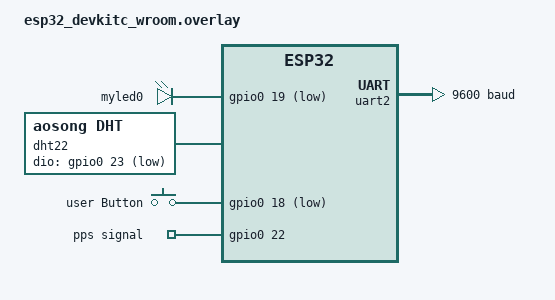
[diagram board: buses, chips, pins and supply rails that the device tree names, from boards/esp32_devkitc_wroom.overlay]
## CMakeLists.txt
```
# SPDX-License-Identifier: Apache-2.0

cmake_minimum_required(VERSION 3.20.0)

find_package(Zephyr REQUIRED HINTS $ENV{ZEPHYR_BASE})
project(uart_gps_gpio)

target_sources(app PRIVATE src/main.c)
```

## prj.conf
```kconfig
CONFIG_SERIAL=y
CONFIG_UART_INTERRUPT_DRIVEN=y
CONFIG_STDOUT_CONSOLE=y
# enable to use thread names
CONFIG_THREAD_NAME=y
CONFIG_SCHED_CPU_MASK=y
CONFIG_SENSOR=y
CONFIG_GPIO=y
# Need float format support
CONFIG_REQUIRES_FULL_LIBC=y
CONFIG_REQUIRES_FLOAT_PRINTF=y
CONFIG_CBPRINTF_FP_SUPPORT=y
```

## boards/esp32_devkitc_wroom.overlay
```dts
/ {
    chosen{
        uart=&uart2;

    };
    aliases {
        led0 = &myled0;
        sw0 = &button0;
        pps = &mypps;
    };

    leds {
        compatible = "gpio-leds";
        myled0: led_0 {
            gpios = <&gpio0 19 GPIO_ACTIVE_LOW>;
        };
    };

    dht22 {
        compatible = "aosong,dht";
        status = "okay";
        dio-gpios = <&gpio0 23 (GPIO_PULL_UP | GPIO_ACTIVE_LOW)>;
    };

    buttons {
        compatible = "gpio-keys";
        button0: button_0 {
            gpios = <&gpio0 18 (GPIO_PULL_UP | GPIO_ACTIVE_LOW)>;
            label = "user Button";
        };
        mypps: mypps_0 {
            gpios = <&gpio0 22 GPIO_ACTIVE_HIGH>;
            label = "pps signal";
        };
    };
};

&uart2 {
    status = "okay";
    current-speed = <9600>;
};
```

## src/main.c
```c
#include <zephyr/kernel.h>
#include <zephyr/device.h>
#include <zephyr/drivers/uart.h>
#include <zephyr/drivers/gpio.h>
#include <zephyr/sys/util.h>
#include <zephyr/sys/printk.h>
#include <zephyr/drivers/sensor.h>
#include <inttypes.h>
#include <string.h>
#include <stdio.h>

/* change this to any other UART peripheral if desired */
#define UART_DEVICE_NODE DT_CHOSEN(uart)

#define SW0_NODE DT_ALIAS(sw0)
#define PPS_NODE DT_ALIAS(pps)

static struct gpio_dt_spec led = GPIO_DT_SPEC_GET_OR(DT_ALIAS(led0), gpios, {0});
static const struct gpio_dt_spec button = GPIO_DT_SPEC_GET_OR(SW0_NODE, gpios, {0});
static const struct gpio_dt_spec pps_dev = GPIO_DT_SPEC_GET_OR(PPS_NODE, gpios, {0});

static struct gpio_callback button_cb_data;
static struct gpio_callback pps_dev_cb_data;
static const struct device *const uart_dev = DEVICE_DT_GET(UART_DEVICE_NODE);
static const struct device *const dht22 = DEVICE_DT_GET_ONE(aosong_dht);

#define MSG_SIZE 256
#define PRIORITY_A 6
#define PRIORITY_B 7
#define PRIORITY_C 8
#define STACKSIZE 1024

/* queue to store up to 10 messages (aligned to 4-byte boundary) */
K_MSGQ_DEFINE(uart_msgq, MSG_SIZE, 10, 4);

/* receive buffer used in UART ISR callback */
static char rx_buf[MSG_SIZE];
static int rx_buf_pos;

#define SLEEP_TIME_MS 100

static int pps_cycle;
static int pps_cnt;
static double utc_time;
static double lat;
static double alt;
static double lon;
static int sat;

void pps_dev_pressed(const struct device *dev, struct gpio_callback *cb, uint32_t pins)
{
	pps_cycle = 0; // k_cycle_get_32();
	pps_cnt++;
}

int hex2int(char *c);
int checksum_valid(char *string);
int parse_comma_delimited_str(char *string, char **fields, int max_fields);

void parse_nwea_gps(char *buffer)
{
	char *field[20];
	if (checksum_valid(buffer))
	{
		if (buffer[0] == '$' && buffer[1] == 'G' && buffer[2] == 'P' &&
			buffer[3] == 'G' && buffer[4] == 'G' && buffer[5] == 'A')
		{
			int ret = parse_comma_delimited_str(buffer, field, 20);
			if (ret > 9)
			{
				utc_time = strtod(field[1], NULL);
				lat = strtod(field[2], NULL);
				lon = strtod(field[4], NULL);
				alt = strtod(field[9], NULL);
				sat = strtol(field[7], NULL, 10);
				if (field[3][0] == 'S')
					lat = -lat;
				if (field[5][0] == 'W')
					lon = -lon;
			}
		}
	}
}

int hexchar2int(char c)
{
	if (c >= '0' && c <= '9')
		return c - '0';
	if (c >= 'A' && c <= 'F')
		return c - 'A' + 10;
	if (c >= 'a' && c <= 'f')
		return c - 'a' + 10;
	return -1;
}

int hex2int(char *c)
{
	int value;

	value = hexchar2int(c[0]);
	value = value << 4;
	value += hexchar2int(c[1]);

	return value;
}

int checksum_valid(char *string)
{
	char *checksum_str;
	int checksum;
	unsigned char calculated_checksum = 0;

	// Checksum is postcede by *
	checksum_str = strchr(string, '*');
	if (checksum_str != NULL)
	{
		// Remove checksum from string
		*checksum_str = '\0';
		// Calculate checksum, starting after $ (i = 1)
		for (int i = 1; i < strlen(string); i++)
		{
			calculated_checksum = calculated_checksum ^ string[i];
		}
		checksum = hex2int((char *)checksum_str + 1);
		// printk("Checksum Str [%s], Checksum %02X, Calculated Checksum %02X\r\n", (char *)checksum_str + 1, checksum, calculated_checksum);
		if (checksum == calculated_checksum)
		{
			return 1;
		}
	}
	else
	{
		// printf("Error: Checksum missing or NULL NMEA message\r\n");
		return 0;
	}
	return 0;
}

int parse_comma_delimited_str(char *string, char **fields, int max_fields)
{
	int i = 0;
	fields[i++] = string;

	while ((i < max_fields) && NULL != (string = strchr(string, ',')))
	{
		*string = '\0';
		fields[i++] = ++string;
	}

	return --i;
}

void button_pressed(const struct device *dev, struct gpio_callback *cb, uint32_t pins)
{
	printk("Button pressed at %" PRIu32 "\n", k_cycle_get_32());
}

void serial_cb(const struct device *dev, void *user_data)
{
	uint8_t c;

	if (!uart_irq_update(uart_dev))
	{
		return;
	}

	if (!uart_irq_rx_ready(uart_dev))
	{
		return;
	}

	/* read until FIFO empty */
	while (uart_fifo_read(uart_dev, &c, 1) == 1)
	{
		if ((c == '\n' || c == '\r') && rx_buf_pos > 0)
		{
			/* terminate string */
			rx_buf[rx_buf_pos] = '\0';

			/* if queue is full, message is silently dropped */
			k_msgq_put(&uart_msgq, &rx_buf, K_NO_WAIT);

			/* reset the buffer (it was copied to the msgq) */
			rx_buf_pos = 0;
		}
		else if (rx_buf_pos < (sizeof(rx_buf) - 1))
		{
			rx_buf[rx_buf_pos++] = c;
		}
		/* else: characters beyond buffer size are dropped */
	}
}

/*
 * Print a null-terminated string character by character to the UART interface
 */
void print_uart(char *buf)
{
	int msg_len = strlen(buf);

	for (int i = 0; i < msg_len; i++)
	{
		uart_poll_out(uart_dev, buf[i]);
	}
}

void thread_a_entry_point(void *dummy1, void *dummy2, void *dummy3)
{
	int ret;
	ARG_UNUSED(dummy1);
	ARG_UNUSED(dummy2);
	ARG_UNUSED(dummy3);

	if (!gpio_is_ready_dt(&button))
	{
		printk("Error: button device %s is not ready\n", button.port->name);
		return;
	}

	ret = gpio_pin_configure_dt(&button, GPIO_INPUT);
	if (ret != 0)
	{
		printk("Error %d: failed to configure %s pin %d\n",
			   ret, button.port->name, button.pin);
		return;
	}

	ret = gpio_pin_interrupt_configure_dt(&button, GPIO_INT_EDGE_TO_ACTIVE);
	if (ret != 0)
	{
		printk("Error %d: failed to configure interrupt on %s pin %d\n",
			   ret, button.port->name, button.pin);
		return;
	}

	gpio_init_callback(&button_cb_data, button_pressed, BIT(button.pin));
	gpio_add_callback(button.port, &button_cb_data);

	printk("Set up button at %s pin %d\n", button.port->name, button.pin);

	if (led.port && !device_is_ready(led.port))
	{
		printk("Error %d: LED device %s is not ready; ignoring it\n",
			   ret, led.port->name);
		led.port = NULL;
	}
	if (led.port)
	{
		ret = gpio_pin_configure_dt(&led, GPIO_OUTPUT);
		if (ret != 0)
		{
			printk("Error %d: failed to configure LED device %s pin %d\n",
				   ret, led.port->name, led.pin);
			led.port = NULL;
		}
		else
		{
			printk("Set up LED at %s pin %d\n", led.port->name, led.pin);
		}
	}

	printk("Press the button\n");
	if (led.port)
	{
		while (1)
		{

			/* If we have an LED, match its state to the button's. */
			int val = gpio_pin_get_dt(&button);

			if (val >= 0)
			{
				gpio_pin_set_dt(&led, val);
			}

			k_msleep(SLEEP_TIME_MS);
		}
	}
}

void thread_b_entry_point(void *dummy1, void *dummy2, void *dummy3)
{
	int ret;
	ARG_UNUSED(dummy1);
	ARG_UNUSED(dummy2);
	ARG_UNUSED(dummy3);
	char tx_buf[MSG_SIZE];

	if (!device_is_ready(uart_dev))
	{
		printk("UART device not found!");
		return;
	}

	/* configure interrupt and callback to receive data */
	ret = uart_irq_callback_user_data_set(uart_dev, serial_cb, NULL);

	if (ret < 0)
	{
		if (ret == -ENOTSUP)
		{
			printk("Interrupt-driven UART API support not enabled\n");
		}
		else if (ret == -ENOSYS)
		{
			printk("UART device does not support interrupt-driven API\n");
		}
		else
		{
			printk("Error setting UART callback: %d\n", ret);
		}
		return;
	}
	uart_irq_rx_enable(uart_dev);

	while (k_msgq_get(&uart_msgq, &tx_buf, K_FOREVER) == 0)
	{
		int i;
		for (i = 0; i < MSG_SIZE; i++)
		{
			if (tx_buf[i] == '$')
				break;
		}
		if (i < MSG_SIZE)
		{
			parse_nwea_gps(&tx_buf[i]);
		}
	}
}
static const char *now_str(void)
{
	static char buf[16]; /* ...HH:MM:SS.MMM */
	uint32_t now = k_uptime_get_32();
	unsigned int ms = now % MSEC_PER_SEC;
	unsigned int s;
	unsigned int min;
	unsigned int h;

	now /= MSEC_PER_SEC;
	s = now % 60U;
	now /= 60U;
	min = now % 60U;
	now /= 60U;
	h = now;

	snprintf(buf, sizeof(buf), "%u:%02u:%02u.%03u",
			 h, min, s, ms);
	return buf;
}
void thread_c_entry_point(void *dummy1, void *dummy2, void *dummy3)
{

	if (!device_is_ready(dht22))
	{
		printf("Device %s is not ready\n", dht22->name);
		return;
	}

	while (true)
	{
		int rc = sensor_sample_fetch(dht22);

		if (rc != 0)
		{
			printf("Sensor fetch failed: %d\n", rc);
			k_sleep(K_SECONDS(1));
			continue;
		}

		struct sensor_value temperature;
		struct sensor_value humidity;
		/*temperature.val1=0;
		temperature.val2=0;
		humidity.val1=0;
		humidity.val2=0;
		*/
		rc = sensor_channel_get(dht22, SENSOR_CHAN_AMBIENT_TEMP,
								&temperature);
		if (rc == 0)
		{
			rc = sensor_channel_get(dht22, SENSOR_CHAN_HUMIDITY,
									&humidity);
		}
		if (rc != 0)
		{
			printf("get failed: %d\n", rc);
			k_sleep(K_SECONDS(1));
			continue;
		}

		int utc = (int)utc_time;
		int h = utc / 10000;
		utc -= h * 10000;
		int m = utc / 100;
		int s = utc - m * 100;
		printf("%d %6d %s [%02d:%02d:%02dZ] lat=%.6f, lon=%.6f, alt=%.1f Cel=%.1f RH=%.1f\n",
			   pps_cycle, pps_cnt, now_str(), h, m, s, lat, lon, alt,
			   sensor_value_to_double(&temperature),
			   sensor_value_to_double(&humidity));
		k_sleep(K_SECONDS(2));
	}
}

K_THREAD_DEFINE(thread_a, STACKSIZE,
				thread_a_entry_point, NULL, NULL, NULL,
				PRIORITY_A, 0, 0);
extern const k_tid_t thread_a;

K_THREAD_DEFINE(thread_b, STACKSIZE,
				thread_b_entry_point, NULL, NULL, NULL,
				PRIORITY_B, 0, 0);
extern const k_tid_t thread_b;

K_THREAD_DEFINE(thread_c, STACKSIZE,
				thread_c_entry_point, NULL, NULL, NULL,
				PRIORITY_C, 0, 0);
extern const k_tid_t thread_c;

int main(void)
{
	int ret;

	if (!gpio_is_ready_dt(&pps_dev))
	{
		printk("Error: pps_dev device %s is not ready\n", pps_dev.port->name);
		return 0;
	}

	ret = gpio_pin_configure_dt(&pps_dev, GPIO_INPUT);
	if (ret != 0)
	{
		printk("Error %d: failed to configure %s pin %d\n",
			   ret, pps_dev.port->name, pps_dev.pin);
		return 0;
	}

	ret = gpio_pin_interrupt_configure_dt(&pps_dev, GPIO_INT_EDGE_TO_ACTIVE);
	if (ret != 0)
	{
		printk("Error %d: failed to configure interrupt on %s pin %d\n",
			   ret, pps_dev.port->name, pps_dev.pin);
		return 0;
	}

	gpio_init_callback(&pps_dev_cb_data, pps_dev_pressed, BIT(pps_dev.pin));
	gpio_add_callback(pps_dev.port, &pps_dev_cb_data);

	printk("Set up pps_dev at %s pin %d\n", pps_dev.port->name, pps_dev.pin);

	return 0;
}
```
